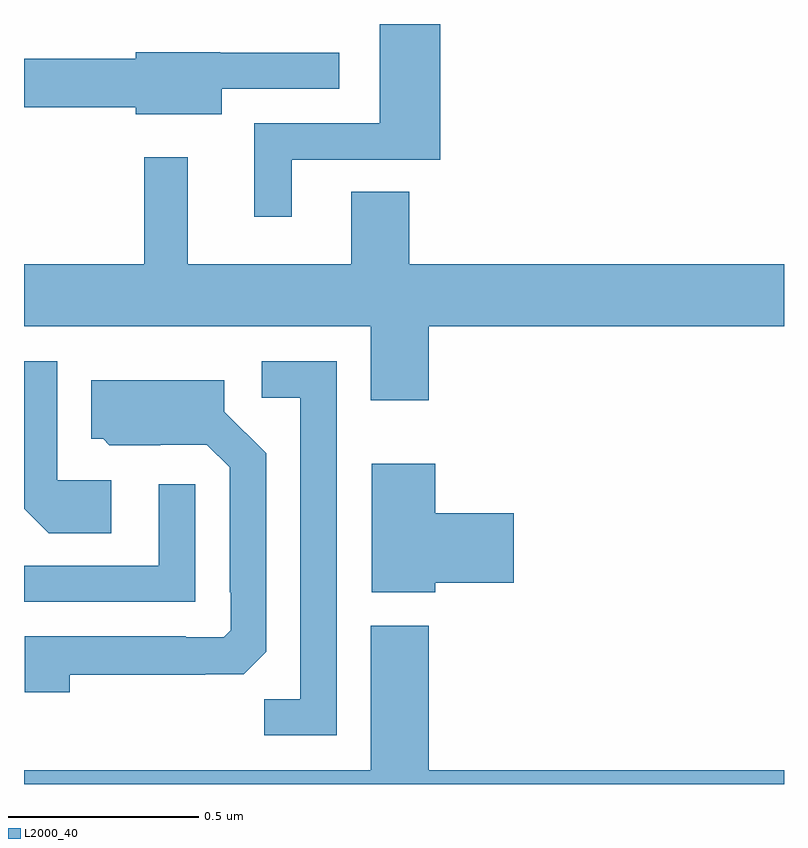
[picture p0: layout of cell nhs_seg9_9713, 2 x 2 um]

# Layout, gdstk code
import gdstk
lib = gdstk.Library(unit=1e-6, precision=1e-09)
def P(c, l, *ps):  # polygons
    for p in ps: c.add(gdstk.Polygon(p, *l))
L2000_40 = (2000, 40)

nhs_seg9_9713 = lib.new_cell('nhs_seg9_9713')
P(nhs_seg9_9713, L2000_40, [(233.704,1246.143),(234.095,1246.143),(234.095,1246.5),(233.936,1246.5),(233.936,1246.239),(233.606,1246.239),(233.606,1245.993),(233.704,1245.993)],
  [(233.521,1246.329),(233.83,1246.329),(233.83,1246.425),(233.517,1246.425),(233.517,1246.426),(233.294,1246.426),(233.294,1246.409),(233,1246.409),(233,1246.281),(233.294,1246.281),(233.294,1246.262),(233.521,1246.262)],
  [(234.065,1245.704),(235,1245.704),(235,1245.868),(234.014,1245.868),(234.014,1246.058),(233.861,1246.058),(233.861,1245.868),(233.431,1245.868),(233.431,1246.15),(233.317,1246.15),(233.317,1245.868),(233,1245.868),(233,1245.704),(233.912,1245.704),(233.912,1245.51),(234.065,1245.51)],
  [(233.23,1245.3),(233.088,1245.3),(233.088,1245.612),(233,1245.612),(233,1245.225),(233.065,1245.16),(233.23,1245.16)],
  [(233.823,1245.612),(233.625,1245.612),(233.625,1245.516),(233.727,1245.516),(233.727,1244.723),(233.632,1244.723),(233.632,1244.628),(233.823,1244.628)],
  [(233.121,1244.788),(233.477,1244.788),(233.477,1244.789),(233.578,1244.789),(233.637,1244.848),(233.637,1245.37),(233.527,1245.48),(233.527,1245.562),(233.177,1245.562),(233.177,1245.408),(233.208,1245.408),(233.224,1245.392),(233.358,1245.392),(233.358,1245.393),(233.481,1245.393),(233.541,1245.333),(233.541,1245.004),(233.544,1245.004),(233.544,1244.904),(233.526,1244.886),(233.426,1244.886),(233.426,1244.889),(233.002,1244.889),(233.002,1244.742),(233.121,1244.742)],
  [(234.082,1245.029),(234.289,1245.029),(234.289,1245.212),(234.082,1245.212),(234.082,1245.343),(233.915,1245.343),(233.915,1245.005),(234.082,1245.005)],
  [(233.451,1245.289),(233.355,1245.289),(233.355,1245.075),(233,1245.075),(233,1244.979),(233.451,1244.979)],
  [(235,1244.536),(234.065,1244.536),(234.065,1244.917),(233.912,1244.917),(233.912,1244.536),(233,1244.536),(233,1244.5),(235,1244.5)])

lib.write_gds('nhs_seg9_9713.gds')
